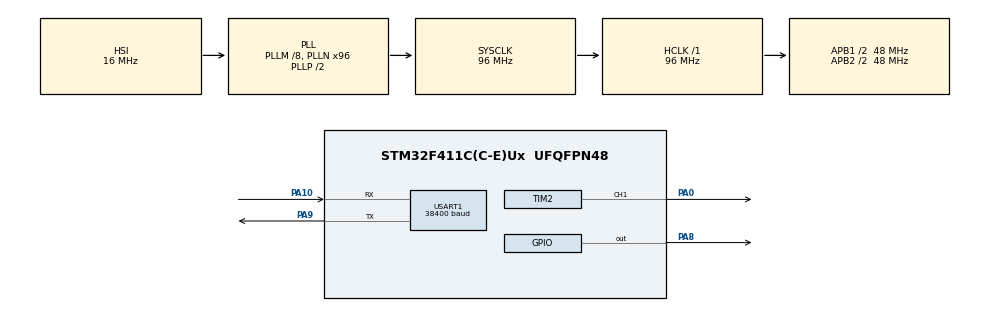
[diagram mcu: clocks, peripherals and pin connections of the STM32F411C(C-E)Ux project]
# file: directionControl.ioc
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Mcu.Family=STM32F4
Mcu.Name=STM32F411C(C-E)Ux
Mcu.Package=UFQFPN48
NVIC.PriorityGroup=NVIC_PRIORITYGROUP_4
PA0-WKUP.GPIO_PuPd=GPIO_NOPULL
PA0-WKUP.GPIO_Speed=GPIO_SPEED_FREQ_LOW
PA0-WKUP.Signal=S_TIM2_CH1_ETR
PA10.Mode=Asynchronous
PA10.Signal=USART1_RX
PA13.Mode=Serial_Wire
PA13.Signal=SYS_JTMS-SWDIO
PA14.Mode=Serial_Wire
PA14.Signal=SYS_JTCK-SWCLK
PA8.Signal=GPIO_Output
PA9.Mode=Asynchronous
PA9.Signal=USART1_TX
PH0\ -\ OSC_IN.Mode=HSE-External-Oscillator
PH0\ -\ OSC_IN.Signal=RCC_OSC_IN
PH1\ -\ OSC_OUT.Mode=HSE-External-Oscillator
PH1\ -\ OSC_OUT.Signal=RCC_OSC_OUT
ProjectManager.HeapSize=0x200
ProjectManager.StackSize=0x400
ProjectManager.TargetToolchain=STM32CubeIDE
RCC.48MHZClocksFreq_Value=48000000
RCC.AHBFreq_Value=96000000
RCC.APB1CLKDivider=RCC_HCLK_DIV2
RCC.APB1Freq_Value=48000000
RCC.APB1TimFreq_Value=96000000
RCC.APB2CLKDivider=RCC_HCLK_DIV2
RCC.APB2Freq_Value=48000000
RCC.APB2TimFreq_Value=96000000
RCC.CortexFreq_Value=96000000
RCC.HCLKFreq_Value=96000000
RCC.HSE_VALUE=25000000
RCC.HSI_VALUE=16000000
RCC.LSE_VALUE=32768
RCC.PLLM=8
RCC.PLLN=96
RCC.SYSCLKFreq_VALUE=96000000
RCC.SYSCLKSource=RCC_SYSCLKSOURCE_PLLCLK
RCC.VCOOutputFreq_Value=192000000
SH.S_TIM2_CH1_ETR.0=TIM2_CH1,PWM Generation1 CH1
TIM2.AutoReloadPreload=TIM_AUTORELOAD_PRELOAD_DISABLE
TIM2.Channel-PWM\ Generation1\ CH1=TIM_CHANNEL_1
TIM2.OC1Preload_PWM=DISABLE
TIM2.OCFastMode_PWM-PWM\ Generation1\ CH1=TIM_OCFAST_DISABLE
TIM2.Period=48
TIM2.Prescaler=100
TIM2.Pulse-PWM\ Generation1\ CH1=0
USART1.BaudRate=38400
USART1.VirtualMode=VM_ASYNC
VP_TIM2_VS_ClockSourceINT.Mode=Internal
VP_TIM2_VS_OPM.Mode=OPM_bit
board=custom

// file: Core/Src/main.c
/* USER CODE BEGIN Header */
/**
  ******************************************************************************
  * @file           : main.c
  * @brief          : Main program body
  ******************************************************************************
  * @attention
  *
  * Copyright (c) 2023 STMicroelectronics.
  * All rights reserved.
  *
  * This software is licensed under terms that can be found in the LICENSE file
  * in the root directory of this software component.
  * If no LICENSE file comes with this software, it is provided AS-IS.
  *
  ******************************************************************************
  */
/* USER CODE END Header */
#include "main.h"

/* USER CODE BEGIN Includes */
#include"stdlib.h"
/* USER CODE END Includes */

/* USER CODE BEGIN PTD */
double Duty_cycle;
double current;
double M_pos_degree, M_speed_rpm;
double theta_knot ;
double kp = 0.0078;
double ki = 0.000;
double kd = 0.000;
double dt;
double t;
double t_prev = 0;
double encoder_prev =0;
double error=0;
double error_prev = 0, int_error, int_error_prev = 0;
double voltage;
/* USER CODE END PTD */

/* USER CODE BEGIN PD */
#define RX_BUFFER_SIZE 50
char rx_buffer[RX_BUFFER_SIZE];
char buffer[RX_BUFFER_SIZE];
char P[5];
char Q[50];
float received_value_P;
float received_value_Q;
/* USER CODE END PD */

/* USER CODE BEGIN PM */
#define motor_resistance 1.80 //ohms
/* USER CODE END PM */

TIM_HandleTypeDef htim2;

UART_HandleTypeDef huart1;

void SystemClock_Config(void);
static void MX_GPIO_Init(void);
static void MX_TIM2_Init(void);
static void MX_USART1_UART_Init(void);
/* USER CODE BEGIN PFP */
//void Directional_Mtr_Pos();
//void current_control(double theta_ref);
//void Encoder_Rst();
/* USER CODE END PFP */

/* USER CODE BEGIN 0 */
//void HAL_UART_RxCpltCallback(UART_HandleTypeDef *huart)
//{
//	if(huart->Instance == huart1.Instance)
//	    {
//			//received_value_Q = atof((char*)rx_buffer);
//
//			HAL_UART_Receive_IT(&huart1,(uint8_t*)rx_buffer,sizeof(rx_buffer));
//	    }
//}

/* USER CODE END 0 */

int main(void)
{

  /* MCU Configuration--------------------------------------------------------*/

  /* Reset of all peripherals, Initializes the Flash interface and the Systick. */
  HAL_Init();

  /* Configure the system clock */
  SystemClock_Config();

  /* Initialize all configured peripherals */
  MX_GPIO_Init();
  MX_TIM2_Init();
  MX_USART1_UART_Init();
  /* USER CODE BEGIN 2 */
  //HAL_TIM_PWM_Start(&htim2,TIM_CHANNEL_1);
  //HAL_UART_Receive_IT(&huart1,(uint8_t*)rx_buffer,sizeof(rx_buffer));
//  received_value_Q = atof((char*)rx_buffer);
  HAL_TIM_PWM_Start(&htim2,TIM_CHANNEL_1);
  HAL_Delay(100);
  /* USER CODE END 2 */

  /* Infinite loop */
  while (1)
  {
	  HAL_UART_Receive(&huart1,(uint8_t*)rx_buffer,sizeof(rx_buffer),100);
	  received_value_Q = atof((char*)rx_buffer);
	  if(received_value_Q==0)
		{
			HAL_GPIO_WritePin(GPIOA, GPIO_PIN_8, GPIO_PIN_SET);
			TIM2->CCR1 = 0;
			//HAL_TIM_PWM_Start(&htim2,TIM_CHANNEL_1);
		}
		if(received_value_Q>0&&received_value_Q<45)
		{

			HAL_GPIO_WritePin(GPIOA, GPIO_PIN_8, GPIO_PIN_RESET);
			TIM2->CCR1 =received_value_Q;
		}
		if(received_value_Q>=45)
		{
			received_value_Q = 45;
			HAL_GPIO_WritePin(GPIOA, GPIO_PIN_8, GPIO_PIN_RESET);
			TIM2->CCR1 = 45;
			//HAL_TIM_PWM_Start(&htim2,TIM_CHANNEL_1);

		}
		if(received_value_Q<0&&received_value_Q>-45)
		{

			HAL_GPIO_WritePin(GPIOA, GPIO_PIN_8, GPIO_PIN_SET);
			TIM2->CCR1 = received_value_Q*(-1);
			//HAL_TIM_PWM_Start(&htim2,TIM_CHANNEL_1);

		}
		if(received_value_Q<=-45)
		{
			received_value_Q =-45;
			HAL_GPIO_WritePin(GPIOA, GPIO_PIN_8, GPIO_PIN_SET);
			TIM2->CCR1 = 45;
			//HAL_TIM_PWM_Start(&htim2,TIM_CHANNEL_1);
		}
  }
}

void SystemClock_Config(void)
{
  RCC_OscInitTypeDef RCC_OscInitStruct = {0};
  RCC_ClkInitTypeDef RCC_ClkInitStruct = {0};

  /** Configure the main internal regulator output voltage
  */
  __HAL_RCC_PWR_CLK_ENABLE();
  __HAL_PWR_VOLTAGESCALING_CONFIG(PWR_REGULATOR_VOLTAGE_SCALE1);

  /** Initializes the RCC Oscillators according to the specified parameters
  * in the RCC_OscInitTypeDef structure.
  */
  RCC_OscInitStruct.OscillatorType = RCC_OSCILLATORTYPE_HSI;
  RCC_OscInitStruct.HSIState = RCC_HSI_ON;
  RCC_OscInitStruct.HSICalibrationValue = RCC_HSICALIBRATION_DEFAULT;
  RCC_OscInitStruct.PLL.PLLState = RCC_PLL_ON;
  RCC_OscInitStruct.PLL.PLLSource = RCC_PLLSOURCE_HSI;
  RCC_OscInitStruct.PLL.PLLM = 8;
  RCC_OscInitStruct.PLL.PLLN = 96;
  RCC_OscInitStruct.PLL.PLLP = RCC_PLLP_DIV2;
  RCC_OscInitStruct.PLL.PLLQ = 4;
  if (HAL_RCC_OscConfig(&RCC_OscInitStruct) != HAL_OK)
  {
    Error_Handler();
  }

  /** Initializes the CPU, AHB and APB buses clocks
  */
  RCC_ClkInitStruct.ClockType = RCC_CLOCKTYPE_HCLK|RCC_CLOCKTYPE_SYSCLK
                              |RCC_CLOCKTYPE_PCLK1|RCC_CLOCKTYPE_PCLK2;
  RCC_ClkInitStruct.SYSCLKSource = RCC_SYSCLKSOURCE_PLLCLK;
  RCC_ClkInitStruct.AHBCLKDivider = RCC_SYSCLK_DIV1;
  RCC_ClkInitStruct.APB1CLKDivider = RCC_HCLK_DIV2;
  RCC_ClkInitStruct.APB2CLKDivider = RCC_HCLK_DIV2;

  if (HAL_RCC_ClockConfig(&RCC_ClkInitStruct, FLASH_LATENCY_3) != HAL_OK)
  {
    Error_Handler();
  }
}

static void MX_TIM2_Init(void)
{

  TIM_ClockConfigTypeDef sClockSourceConfig = {0};
  TIM_MasterConfigTypeDef sMasterConfig = {0};
  TIM_OC_InitTypeDef sConfigOC = {0};

  htim2.Instance = TIM2;
  htim2.Init.Prescaler = 100;
  htim2.Init.CounterMode = TIM_COUNTERMODE_UP;
  htim2.Init.Period = 48;
  htim2.Init.ClockDivision = TIM_CLOCKDIVISION_DIV1;
  htim2.Init.AutoReloadPreload = TIM_AUTORELOAD_PRELOAD_DISABLE;
  if (HAL_TIM_Base_Init(&htim2) != HAL_OK)
  {
    Error_Handler();
  }
  sClockSourceConfig.ClockSource = TIM_CLOCKSOURCE_INTERNAL;
  if (HAL_TIM_ConfigClockSource(&htim2, &sClockSourceConfig) != HAL_OK)
  {
    Error_Handler();
  }
  if (HAL_TIM_PWM_Init(&htim2) != HAL_OK)
  {
    Error_Handler();
  }
  if (HAL_TIM_OnePulse_Init(&htim2, TIM_OPMODE_SINGLE) != HAL_OK)
  {
    Error_Handler();
  }
  sMasterConfig.MasterOutputTrigger = TIM_TRGO_RESET;
  sMasterConfig.MasterSlaveMode = TIM_MASTERSLAVEMODE_DISABLE;
  if (HAL_TIMEx_MasterConfigSynchronization(&htim2, &sMasterConfig) != HAL_OK)
  {
    Error_Handler();
  }
  sConfigOC.OCMode = TIM_OCMODE_PWM1;
  sConfigOC.Pulse = 0;
  sConfigOC.OCPolarity = TIM_OCPOLARITY_HIGH;
  sConfigOC.OCFastMode = TIM_OCFAST_DISABLE;
  if (HAL_TIM_PWM_ConfigChannel(&htim2, &sConfigOC, TIM_CHANNEL_1) != HAL_OK)
  {
    Error_Handler();
  }
  __HAL_TIM_DISABLE_OCxPRELOAD(&htim2, TIM_CHANNEL_1);
  HAL_TIM_MspPostInit(&htim2);

}

static void MX_USART1_UART_Init(void)
{

  huart1.Instance = USART1;
  huart1.Init.BaudRate = 38400;
  huart1.Init.WordLength = UART_WORDLENGTH_8B;
  huart1.Init.StopBits = UART_STOPBITS_1;
  huart1.Init.Parity = UART_PARITY_NONE;
  huart1.Init.Mode = UART_MODE_TX_RX;
  huart1.Init.HwFlowCtl = UART_HWCONTROL_NONE;
  huart1.Init.OverSampling = UART_OVERSAMPLING_16;
  if (HAL_UART_Init(&huart1) != HAL_OK)
  {
    Error_Handler();
  }

}

static void MX_GPIO_Init(void)
{
  GPIO_InitTypeDef GPIO_InitStruct = {0};

  /* GPIO Ports Clock Enable */
  __HAL_RCC_GPIOH_CLK_ENABLE();
  __HAL_RCC_GPIOA_CLK_ENABLE();

  /*Configure GPIO pin Output Level */
  HAL_GPIO_WritePin(GPIOA, GPIO_PIN_8, GPIO_PIN_RESET);

  /*Configure GPIO pin : PA8 */
  GPIO_InitStruct.Pin = GPIO_PIN_8;
  GPIO_InitStruct.Mode = GPIO_MODE_OUTPUT_PP;
  GPIO_InitStruct.Pull = GPIO_NOPULL;
  GPIO_InitStruct.Speed = GPIO_SPEED_FREQ_LOW;
  HAL_GPIO_Init(GPIOA, &GPIO_InitStruct);

}

void Error_Handler(void)
{
  __disable_irq();
  while (1)
  {
  }
}
